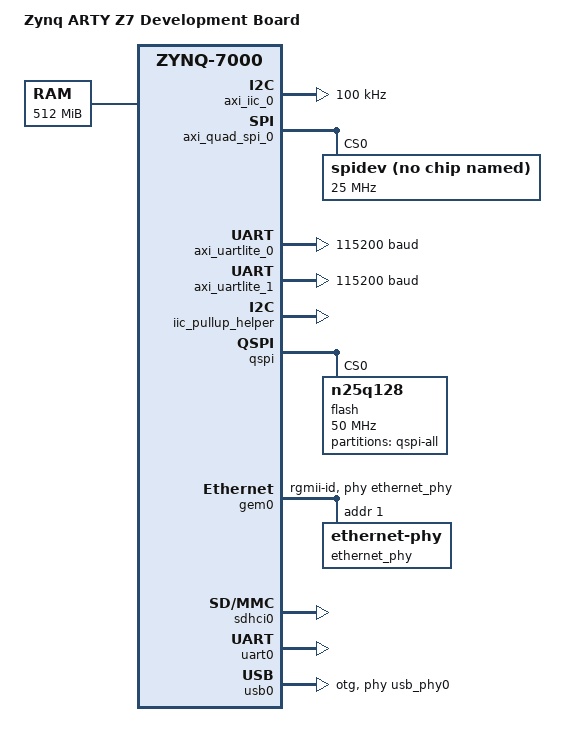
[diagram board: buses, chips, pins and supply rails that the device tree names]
/*
 * Digilent ARTY Z7 board DTS
 *
 *  Copyright (C) 2016 Digilent
 *
 * SPDX-License-Identifier:	GPL-2.0+
 */
/dts-v1/;
#include "zynq-7000.dtsi"

/ {

	amba_pl: amba_pl {
		#address-cells = <1>;
		#size-cells = <1>;
		compatible = "simple-bus";
		ranges ;
		axi_gpio_0: gpio@41200000 {
			#gpio-cells = <3>;
			#interrupt-cells = <2>;
			clock-names = "s_axi_aclk";
			clocks = <&clkc 15>;
			compatible = "xlnx,axi-gpio-2.0", "xlnx,xps-gpio-1.00.a";
			gpio-controller ;
			interrupt-controller ;
			interrupt-names = "ip2intc_irpt";
			interrupt-parent = <&intc>;
			interrupts = <0 29 4>;
			reg = <0x41200000 0x10000>;
			xlnx,all-inputs = <0x0>;
			xlnx,all-inputs-2 = <0x0>;
			xlnx,all-outputs = <0x0>;
			xlnx,all-outputs-2 = <0x0>;
			xlnx,dout-default = <0x00000000>;
			xlnx,dout-default-2 = <0x00000000>;
			xlnx,gpio-width = <0x10>;
			xlnx,gpio2-width = <0x20>;
			xlnx,interrupt-present = <0x1>;
			xlnx,is-dual = <0x0>;
			xlnx,tri-default = <0xFFFFFFFF>;
			xlnx,tri-default-2 = <0xFFFFFFFF>;
		};
		axi_gpio_1: gpio@41210000 {
			#gpio-cells = <3>;
			clock-names = "s_axi_aclk";
			clocks = <&clkc 15>;
			compatible = "xlnx,axi-gpio-2.0", "xlnx,xps-gpio-1.00.a";
			gpio-controller ;
			reg = <0x41210000 0x10000>;
			xlnx,all-inputs = <0x0>;
			xlnx,all-inputs-2 = <0x0>;
			xlnx,all-outputs = <0x1>;
			xlnx,all-outputs-2 = <0x0>;
			xlnx,dout-default = <0x00000001>;
			xlnx,dout-default-2 = <0x00000000>;
			xlnx,gpio-width = <0x4>;
			xlnx,gpio2-width = <0x20>;
			xlnx,interrupt-present = <0x0>;
			xlnx,is-dual = <0x0>;
			xlnx,tri-default = <0xFFFFFFFF>;
			xlnx,tri-default-2 = <0xFFFFFFFF>;
		};
                axi_iic_0: i2c@41600000 {
			#address-cells = <1>;
			#size-cells = <0>;
			clock-names = "s_axi_aclk";
			clocks = <&clkc 15>;
			compatible = "xlnx,axi-iic-2.1", "xlnx,xps-iic-2.00.a";
			interrupt-names = "iic2intc_irpt";
			interrupt-parent = <&intc>;
			interrupts = <0 33 4>;
			reg = <0x41600000 0x10000>;
		};
		axi_quad_spi_0: axi_quad_spi@41e00000 {
			bits-per-word = <8>;
			clock-names = "ext_spi_clk", "s_axi_aclk";
			clocks = <&clkc 15>, <&clkc 15>;
			compatible = "xlnx,axi-quad-spi-3.2", "xlnx,xps-spi-2.00.a";
			fifo-size = <16>;
			interrupt-names = "ip2intc_irpt";
			interrupt-parent = <&intc>;
			interrupts = <0 32 1>;
			num-cs = <0x1>;
			reg = <0x41e00000 0x10000>;
			xlnx,num-ss-bits = <0x1>;
			xlnx,spi-mode = <0>;
		};
                axi_uartlite_0: serial@42c00000 {
			clock-names = "s_axi_aclk";
			clocks = <&clkc 15>;
			compatible = "xlnx,axi-uartlite-2.0", "xlnx,xps-uartlite-1.00.a";
			current-speed = <115200>;
			device_type = "serial";
			interrupt-names = "interrupt";
			interrupt-parent = <&intc>;
			interrupts = <0 30 1>;
			port-number = <0>;
			reg = <0x42c00000 0x10000>;
			xlnx,baudrate = <0x1c200>;
			xlnx,data-bits = <0x8>;
			xlnx,odd-parity = <0x0>;
			xlnx,s-axi-aclk-freq-hz-d = "100.0";
			xlnx,use-parity = <0x0>;
		};
		axi_uartlite_1: serial@42c10000 {
			clock-names = "s_axi_aclk";
			clocks = <&clkc 15>;
			compatible = "xlnx,axi-uartlite-2.0", "xlnx,xps-uartlite-1.00.a";
			current-speed = <115200>;
			device_type = "serial";
			interrupt-names = "interrupt";
			interrupt-parent = <&intc>;
			interrupts = <0 31 1>;
			port-number = <1>;
			reg = <0x42c10000 0x10000>;
			xlnx,baudrate = <0x1c200>;
			xlnx,data-bits = <0x8>;
			xlnx,odd-parity = <0x0>;
			xlnx,s-axi-aclk-freq-hz-d = "100.0";
			xlnx,use-parity = <0x0>;
		};
                iic_pullup_helper: gpio@41220000 {
			#gpio-cells = <3>;
			clock-names = "s_axi_aclk";
			clocks = <&clkc 15>;
			compatible = "xlnx,axi-gpio-2.0", "xlnx,xps-gpio-1.00.a";
			gpio-controller ;
			reg = <0x41220000 0x10000>;
			xlnx,all-inputs = <0x1>;
			xlnx,all-inputs-2 = <0x0>;
			xlnx,all-outputs = <0x0>;
			xlnx,all-outputs-2 = <0x0>;
			xlnx,dout-default = <0x00000000>;
			xlnx,dout-default-2 = <0x00000000>;
			xlnx,gpio-width = <0x2>;
			xlnx,gpio2-width = <0x20>;
			xlnx,interrupt-present = <0x0>;
			xlnx,is-dual = <0x0>;
			xlnx,tri-default = <0xFFFFFFFF>;
			xlnx,tri-default-2 = <0xFFFFFFFF>;
		};

	};
};


/ {
	model = "Zynq ARTY Z7 Development Board";
	compatible = "digilent,zynq-artyz7", "xlnx,zynq-7000";

	aliases {
		ethernet0 = &gem0;
		mmc0 = &sdhci0;
		serial0 = &uart0;
                serial1 = &axi_uartlite_0;
                serial2 = &axi_uartlite_1;
		spi0 = &qspi;
                i2c0 = &axi_iic_0;
                spi1 = &axi_quad_spi_0;
	};

	memory {
		device_type = "memory";
		reg = <0x0 0x20000000>;
	};

	chosen {
		bootargs = "";
		stdout-path = "serial0:115200n8";
	};

	usb_phy0: phy0 {
                compatible = "ulpi-phy";
                #phy-cells = <0>;
                reg = <0xe0002000 0x1000>;
                view-port = <0x170>;
                drv-vbus;
	};
};

&qspi {
	u-boot,dm-pre-reloc;
	is-dual = <0>;
	num-cs = <1>;
	status = "okay";
	spi-rx-bus-width = <4>;
	spi-tx-bus-width = <4>;
        flash@0 {
        compatible = "n25q128", "jedec,spi-nor";
        reg = <0x0>;
        spi-tx-bus-width = <4>;
        spi-rx-bus-width = <4>;
        spi-max-frequency = <50000000>;
        partition@qspi-fsbl-uboot {
                                  label = "qspi-all";
                                  reg = <0x0 0xfffff0>;
                                  };
       };
};




&clkc {
	ps-clk-frequency = <50000000>;
};

&gem0 {
	status = "okay";
	phy-mode = "rgmii-id";
	phy-handle = <&ethernet_phy>;
        local-mac-address = [00 0a 35 00 00 00];

	ethernet_phy: ethernet-phy@0 { /* rtl8211e-vl */
		reg = <1>;
	};
};

&qspi {
	u-boot,dm-pre-reloc;
	status = "okay";
};

&sdhci0 {
	u-boot,dm-pre-reloc;
	status = "okay";
};

&uart0 {
	u-boot,dm-pre-reloc;
	status = "okay";
};

&usb0 {
	status = "okay";
	dr_mode = "otg";
	usb-phy = <&usb_phy0>;
};


&intc {
	num_cpus = <2>;
	num_interrupts = <96>;
};

&axi_iic_0 {
	clock-frequency = <100000>;
	status = "okay";
};

&axi_quad_spi_0 {
	status = "okay";
	spidev: spidev@0 {
		compatible = "linux,spidev";
		spi-max-frequency = <25000000>;
		reg = <0>;
	};
	// NOTE: can only either have a spidev or mtd flash node, but not both
	// flash1: n25q256a13@0 {
	// 	compatible = "micron,n25q256a13", "jedec,spi-nor";
	// 	reg = <0x0>;
	// 	spi-max-frequency = <25000000>;
	// 	#address-cells = <1>;
	// 	#size-cells = <1>;
	// 	partition@0 {
	// 		label = "sf_4k";
	// 		reg = <0x00000000 0x00001000>;
	// 	};
	// 	partition@1 {
	// 		label = "sf_remainder";
	// 		reg = <0x00001000 0x01FFF000>;
	// 	};
	// };
};


